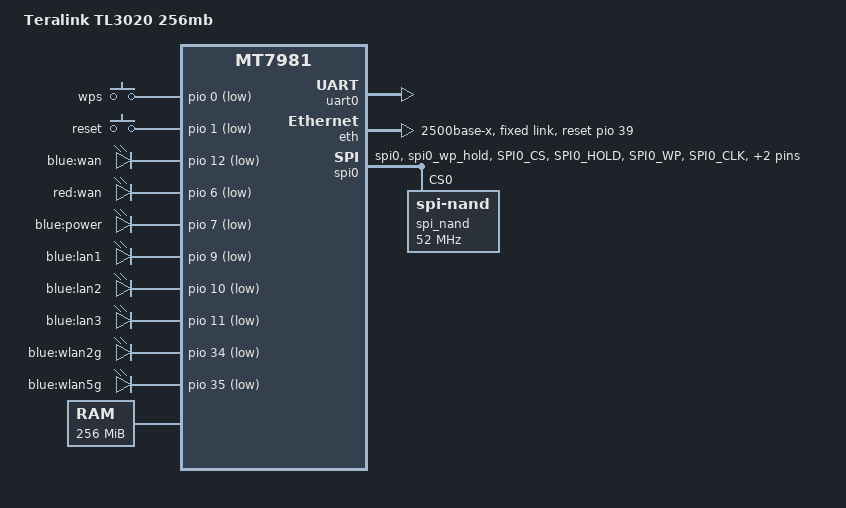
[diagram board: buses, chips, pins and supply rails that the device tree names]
/dts-v1/;
#include "mt7981.dtsi"
#include <dt-bindings/gpio/gpio.h>

/ {
	#address-cells = <1>;
	#size-cells = <1>;
	model = "Teralink TL3020 256mb";
	compatible = "mediatek,mt7981", "mediatek,mt7981-rfb";

	chosen {
		stdout-path = &uart0;
		tick-timer = &timer0;
	};

	config {
		bootcmd = "mtkboardboot";
		blink_led = "red:wan";
		system_led = "blue:power";
	};

	gpio-keys {
		compatible = "gpio-keys";

		button-wps {
			label = "wps";
			linux,code = <KEY_WPS_BUTTON>;
			gpios = <&pio 0 GPIO_ACTIVE_LOW>;
		};

		button-reset {
			label = "reset";
			linux,code = <KEY_RESTART>;
			gpios = <&pio 1 GPIO_ACTIVE_LOW>;
		};
	};

	leds {
		compatible = "gpio-leds";

		led-blue-wan {
			label = "blue:wan";
			gpios = <&pio 12 GPIO_ACTIVE_LOW>;
		};

		upgrade_led: led-red-wan {
			label = "red:wan";
			gpios = <&pio 6 GPIO_ACTIVE_LOW>;
		};

		boot_led: led-power {
			label = "blue:power";
			gpios = <&pio 7 GPIO_ACTIVE_LOW>;
		};

		led-lan1 {
			label = "blue:lan1";
			gpios = <&pio 9 GPIO_ACTIVE_LOW>;
		};

		led-lan2 {
			label = "blue:lan2";
			gpios = <&pio 10 GPIO_ACTIVE_LOW>;
		};

		led-lan3 {
			label = "blue:lan3";
			gpios = <&pio 11 GPIO_ACTIVE_LOW>;
		};

		running_led: led-wlan2g {
			label = "blue:wlan2g";
			gpios = <&pio 34 GPIO_ACTIVE_LOW>;
		};

		led-wlan5g {
			label = "blue:wlan5g";
			gpios = <&pio 35 GPIO_ACTIVE_LOW>;
		};
	};

	memory@40000000 {
		device_type = "memory";
		reg = <0x40000000 0x10000000>;
	};

	bl2_verify {
		bl2_compatible = "spim-nand";
	};
};

&uart0 {
	status = "okay";
};

&eth {
	status = "okay";
	mediatek,gmac-id = <0>;
	phy-mode = "2500base-x";
	mediatek,switch = "auto";
	reset-gpios = <&pio 39 GPIO_ACTIVE_HIGH>;

	fixed-link {
		speed = <2500>;
		full-duplex;
	};
};

&pio {
	spi_flash_pins: spi0-pins-func-1 {
		mux {
			function = "flash";
			groups = "spi0", "spi0_wp_hold";
		};

		conf-pu {
			pins = "SPI0_CS", "SPI0_HOLD", "SPI0_WP";
			drive-strength = <MTK_DRIVE_8mA>;
			bias-pull-up = <MTK_PUPD_SET_R1R0_11>;
		};

		conf-pd {
			pins = "SPI0_CLK", "SPI0_MOSI", "SPI0_MISO";
			drive-strength = <MTK_DRIVE_8mA>;
			bias-pull-down = <MTK_PUPD_SET_R1R0_11>;
		};
	};
};

&spi0 {
	#address-cells = <1>;
	#size-cells = <0>;
	pinctrl-names = "default";
	pinctrl-0 = <&spi_flash_pins>;
	status = "okay";
	must_tx;
	enhance_timing;
	dma_ext;
	ipm_design;
	support_quad;
	tick_dly = <2>;
	sample_sel = <0>;

	spi_nand@0 {
		compatible = "spi-nand";
		reg = <0>;
		spi-max-frequency = <52000000>;
	};
};

&watchdog {
	status = "disabled";
};
